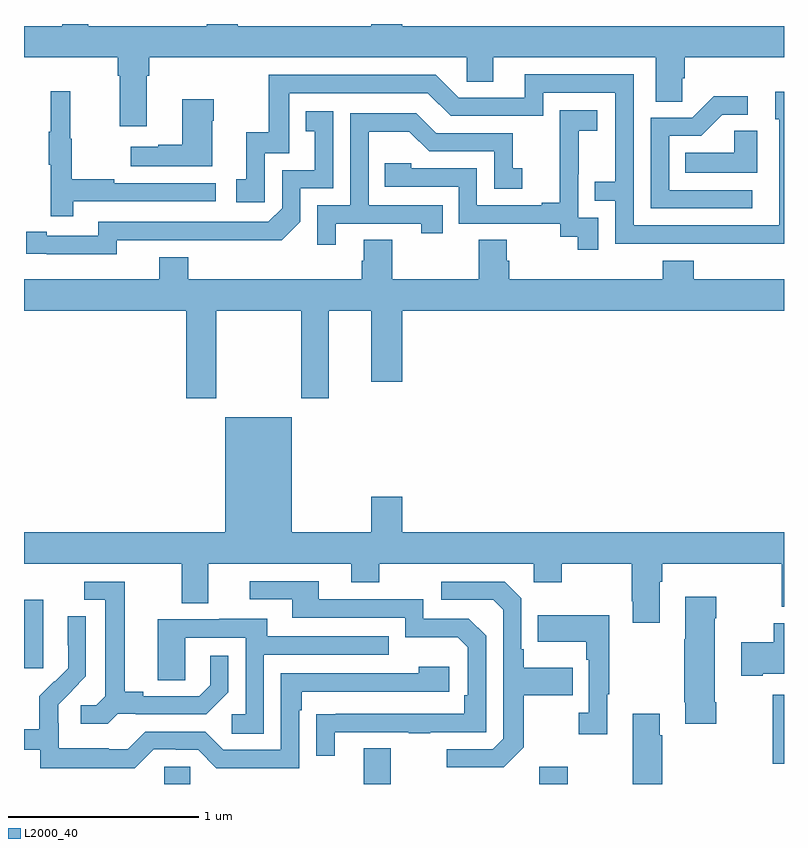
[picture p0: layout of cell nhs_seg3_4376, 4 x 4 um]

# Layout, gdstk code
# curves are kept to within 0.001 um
import gdstk
lib = gdstk.Library(unit=1e-6, precision=1e-09)
def R(c, l, rs):  # rectangles x0, y0, x1, y1
    for r in rs: c.add(gdstk.rectangle(r[:2], r[2:], *l))
def P(c, l, *ps):  # polygons
    for p in ps: c.add(gdstk.Polygon(p, *l))
L2000_40 = (2000, 40)

nhs_seg3_4376 = lib.new_cell('nhs_seg3_4376')
R(nhs_seg3_4376, L2000_40, [(343.737,722.4,343.875,722.49), (344.789,722.4,344.929,722.587), (345.713,722.4,345.861,722.491), (346.94,722.507,347,722.869), (343,723.009,343.102,723.37)])
P(nhs_seg3_4376, L2000_40, [(344.992,726.4),(344.828,726.4),(344.828,726.388),(344.126,726.388),(344.126,726.4),(343.961,726.4),(343.961,726.388),(343.337,726.388),(343.337,726.4),(343.201,726.4),(343.201,726.388),(343,726.388),(343,726.224),(343.493,726.224),(343.493,726.128),(343.505,726.128),(343.505,725.862),(343.645,725.862),(343.645,726.128),(343.658,726.128),(343.658,726.224),(345.33,726.224),(345.33,726.097),(345.469,726.097),(345.469,726.224),(346.325,726.224),(346.325,725.992),(346.464,725.992),(346.464,726.115),(346.478,726.115),(346.478,726.224),(347,726.224),(347,726.388),(344.992,726.388)],
  [(347,726.043),(346.955,726.043),(346.955,725.898),(346.974,725.898),(346.974,725.34),(346.209,725.34),(346.209,726.135),(345.635,726.135),(345.635,726.012),(345.288,726.012),(345.168,726.132),(344.289,726.132),(344.289,725.83),(344.171,725.83),(344.171,725.583),(344.118,725.583),(344.118,725.463),(344.268,725.463),(344.268,725.721),(344.397,725.721),(344.397,726.036),(345.126,726.036),(345.246,725.916),(345.732,725.916),(345.732,726.039),(346.113,726.039),(346.113,725.57),(346.003,725.57),(346.003,725.469),(346.113,725.469),(346.113,725.244),(347,725.243)],
  [(343.259,725.466),(344.008,725.466),(344.008,725.562),(343.475,725.562),(343.475,725.582),(343.252,725.582),(343.252,725.796),(343.244,725.796),(343.244,726.046),(343.142,726.046),(343.142,725.833),(343.131,725.833),(343.131,725.659),(343.142,725.659),(343.142,725.388),(343.259,725.388)],
  [(346.834,725.526),(346.395,725.526),(346.395,725.811),(346.564,725.811),(346.675,725.922),(346.81,725.922),(346.81,726.02),(346.631,726.02),(346.518,725.907),(346.299,725.907),(346.299,725.43),(346.834,725.43)],
  [(343.99,725.891),(343.998,725.891),(343.998,726.004),(343.832,726.004),(343.832,725.765),(343.706,725.765),(343.706,725.755),(343.563,725.755),(343.563,725.651),(343.99,725.651)],
  [(346.023,725.379),(345.918,725.379),(345.918,725.609),(345.92,725.609),(345.92,725.837),(346.018,725.837),(346.018,725.947),(345.82,725.947),(345.82,725.741),(345.821,725.741),(345.821,725.458),(345.725,725.458),(345.725,725.445),(345.384,725.445),(345.384,725.64),(345.039,725.64),(345.039,725.667),(344.899,725.667),(344.899,725.544),(345.288,725.544),(345.288,725.349),(345.822,725.349),(345.822,725.281),(345.915,725.281),(345.915,725.211),(346.023,725.211)],
  [(343.488,725.262),(344.356,725.261),(344.454,725.358),(344.454,725.535),(344.628,725.535),(344.628,725.941),(344.482,725.941),(344.482,725.835),(344.531,725.835),(344.531,725.631),(344.358,725.631),(344.358,725.43),(344.286,725.358),(343.392,725.358),(343.392,725.286),(343.12,725.286),(343.12,725.306),(343.012,725.306),(343.012,725.19),(343.488,725.189)],
  [(344.641,725.349),(345.092,725.349),(345.092,725.298),(345.203,725.298),(345.203,725.445),(344.814,725.445),(344.814,725.834),(345.028,725.834),(345.132,725.73),(345.474,725.73),(345.474,725.532),(345.622,725.532),(345.622,725.641),(345.573,725.641),(345.573,725.826),(345.169,725.826),(345.064,725.931),(344.718,725.931),(344.718,725.445),(344.544,725.445),(344.544,725.238),(344.641,725.238)],
  [(346.858,725.837),(346.737,725.837),(346.737,725.722),(346.48,725.722),(346.48,725.618),(346.858,725.618)],
  [(344.013,724.892),(344.458,724.892),(344.458,724.431),(344.605,724.431),(344.605,724.892),(344.828,724.892),(344.828,724.518),(344.992,724.518),(344.992,724.892),(347,724.892),(347,725.056),(346.526,725.056),(346.526,725.155),(346.361,725.155),(346.361,725.056),(345.554,725.056),(345.554,725.154),(345.541,725.154),(345.541,725.264),(345.394,725.264),(345.394,725.056),(344.937,725.056),(344.937,725.264),(344.789,725.264),(344.789,725.154),(344.777,725.154),(344.777,725.056),(343.865,725.056),(343.865,725.173),(343.712,725.173),(343.712,725.056),(343,725.056),(343,724.892),(343.853,724.892),(343.853,724.431),(344.013,724.431)],
  [(344.992,723.913),(344.828,723.913),(344.828,723.724),(344.41,723.724),(344.41,724.33),(344.06,724.33),(344.06,723.724),(343,723.724),(343,723.56),(343.829,723.56),(343.829,723.352),(343.969,723.352),(343.969,723.56),(344.723,723.56),(344.723,723.461),(344.871,723.461),(344.871,723.56),(345.684,723.56),(345.684,723.461),(345.831,723.461),(345.831,723.56),(346.198,723.56),(346.198,723.361),(346.205,723.361),(346.205,723.249),(346.345,723.249),(346.345,723.464),(346.358,723.464),(346.358,723.56),(346.989,723.56),(346.989,723.332),(347,723.332),(347,723.724),(344.992,723.724)],
  [(344.635,722.673),(345.025,722.673),(345.025,722.668),(345.137,722.668),(345.137,722.673),(345.432,722.673),(345.432,723.18),(345.342,723.27),(345.102,723.27),(345.102,723.372),(344.551,723.372),(344.551,723.468),(344.187,723.468),(344.187,723.372),(344.411,723.372),(344.411,723.276),(345.006,723.276),(345.006,723.173),(345.283,723.173),(345.336,723.12),(345.336,722.866),(345.316,722.866),(345.316,722.769),(344.539,722.768),(344.539,722.55),(344.635,722.55)],
  [(343.494,722.769),(343.588,722.769),(343.588,722.766),(343.96,722.766),(344.076,722.882),(344.076,723.076),(343.979,723.076),(343.979,722.919),(343.922,722.862),(343.627,722.862),(343.627,722.885),(343.531,722.885),(343.531,723.465),(343.317,723.465),(343.317,723.369),(343.427,723.369),(343.427,722.861),(343.38,722.814),(343.299,722.814),(343.299,722.717),(343.442,722.717)],
  [(345.631,722.593),(345.631,722.866),(345.887,722.866),(345.887,723.013),(345.631,723.013),(345.631,723.109),(345.618,723.109),(345.618,723.378),(345.531,723.465),(345.195,723.465),(345.195,723.369),(345.471,723.369),(345.522,723.318),(345.522,722.637),(345.468,722.583),(345.225,722.583),(345.225,722.487),(345.525,722.487)],
  [(346.644,722.83),(346.636,722.83),(346.636,723.272),(346.644,723.272),(346.644,723.385),(346.481,723.385),(346.481,723.161),(346.474,723.161),(346.474,722.83),(346.481,722.83),(346.481,722.718),(346.644,722.718)],
  [(346.069,722.873),(346.081,722.873),(346.081,723.289),(345.703,723.289),(345.703,723.149),(345.96,723.149),(345.96,723.053),(345.972,723.053),(345.972,722.774),(345.921,722.774),(345.921,722.661),(346.069,722.661)],
  [(343.683,722.583),(343.799,722.583),(343.799,722.58),(343.917,722.58),(344.013,722.484),(344.448,722.484),(344.448,722.789),(344.461,722.789),(344.461,722.886),(345.238,722.886),(345.238,723.016),(345.077,723.016),(345.077,722.982),(344.352,722.982),(344.352,722.58),(344.049,722.58),(343.953,722.676),(343.638,722.676),(343.545,722.583),(343.445,722.583),(343.445,722.587),(343.182,722.587),(343.182,722.721),(343.18,722.721),(343.18,722.818),(343.326,722.966),(343.326,723.284),(343.23,723.284),(343.23,723.13),(343.232,723.13),(343.232,723.008),(343.161,722.937),(343.158,722.94),(343.081,722.863),(343.081,722.689),(343,722.689),(343,722.58),(343.086,722.58),(343.086,722.483),(343.583,722.483)],
  [(344.262,723.081),(344.921,723.081),(344.921,723.177),(344.281,723.177),(344.281,723.271),(344.027,723.271),(344.027,723.267),(343.703,723.267),(343.703,722.947),(343.848,722.947),(343.848,723.171),(344.166,723.171),(344.166,722.766),(344.094,722.766),(344.094,722.665),(344.262,722.665)],
  [(346.888,722.981),(347,722.981),(347,723.247),(346.945,723.247),(346.945,723.147),(346.776,723.147),(346.776,722.969),(346.888,722.969)],
  [(346.358,722.657),(346.345,722.657),(346.345,722.77),(346.205,722.77),(346.205,722.4),(346.358,722.4)])

lib.write_gds('nhs_seg3_4376.gds')
